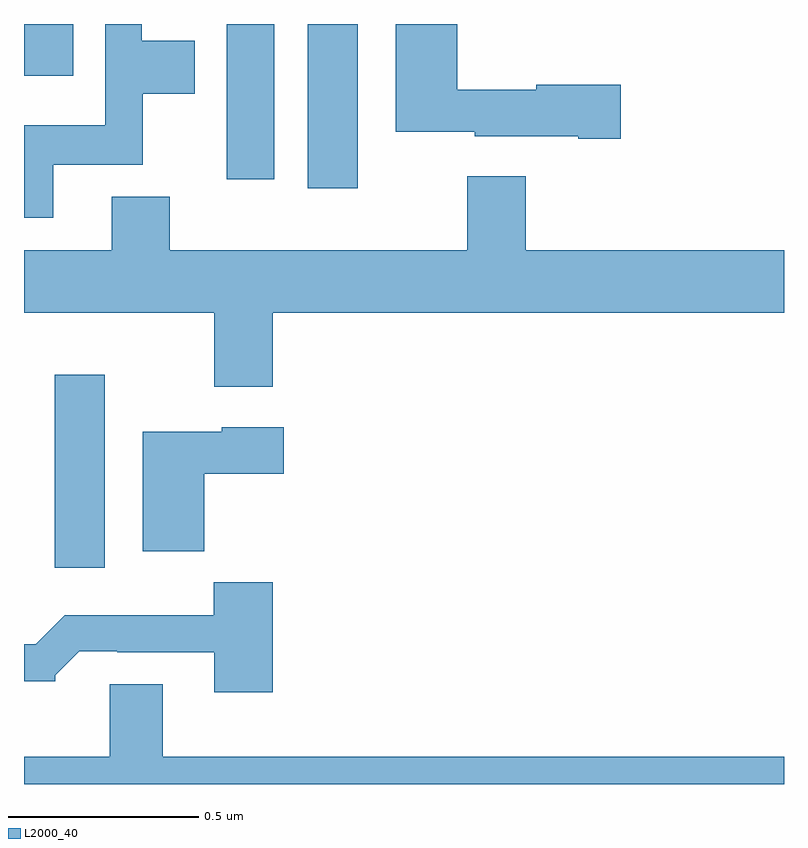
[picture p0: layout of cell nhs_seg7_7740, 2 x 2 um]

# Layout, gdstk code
import gdstk
lib = gdstk.Library(unit=1e-6, precision=1e-09)
def R(c, l, rs):  # rectangles x0, y0, x1, y1
    for r in rs: c.add(gdstk.rectangle(r[:2], r[2:], *l))
def P(c, l, *ps):  # polygons
    for p in ps: c.add(gdstk.Polygon(p, *l))
L2000_40 = (2000, 40)

nhs_seg7_7740 = lib.new_cell('nhs_seg7_7740')
R(nhs_seg7_7740, L2000_40, [(215.081,1042.569,215.212,1043.077), (215.747,1043.568,215.878,1044), (215.534,1043.592,215.659,1044), (215,1043.864,215.129,1044)])
P(nhs_seg7_7740, L2000_40, [(216.571,1043.84),(216.348,1043.84),(216.348,1043.827),(216.14,1043.827),(216.14,1044),(215.978,1044),(215.978,1043.717),(216.186,1043.717),(216.186,1043.705),(216.458,1043.705),(216.458,1043.698),(216.571,1043.698)],
  [(215.077,1043.63),(215.313,1043.63),(215.313,1043.816),(215.449,1043.816),(215.449,1043.956),(215.31,1043.956),(215.31,1044),(215.214,1044),(215.214,1043.734),(215,1043.734),(215,1043.49),(215.077,1043.49)],
  [(215.654,1043.24),(217,1043.24),(217,1043.404),(216.32,1043.404),(216.32,1043.599),(216.167,1043.599),(216.167,1043.404),(215.384,1043.404),(215.384,1043.545),(215.231,1043.545),(215.231,1043.404),(215,1043.404),(215,1043.24),(215.501,1043.24),(215.501,1043.046),(215.654,1043.046)],
  [(215.474,1042.817),(215.683,1042.817),(215.683,1042.939),(215.52,1042.939),(215.52,1042.927),(215.312,1042.927),(215.312,1042.613),(215.474,1042.613)],
  [(215.654,1042.531),(215.499,1042.531),(215.499,1042.444),(215.107,1042.444),(215.031,1042.368),(215,1042.368),(215,1042.271),(215.082,1042.271),(215.082,1042.286),(215.146,1042.35),(215.245,1042.35),(215.245,1042.347),(215.501,1042.347),(215.501,1042.242),(215.654,1042.242)],
  [(217,1042.072),(215.365,1042.072),(215.365,1042.262),(215.225,1042.262),(215.225,1042.072),(215,1042.072),(215,1042),(217,1042)])

lib.write_gds('nhs_seg7_7740.gds')
